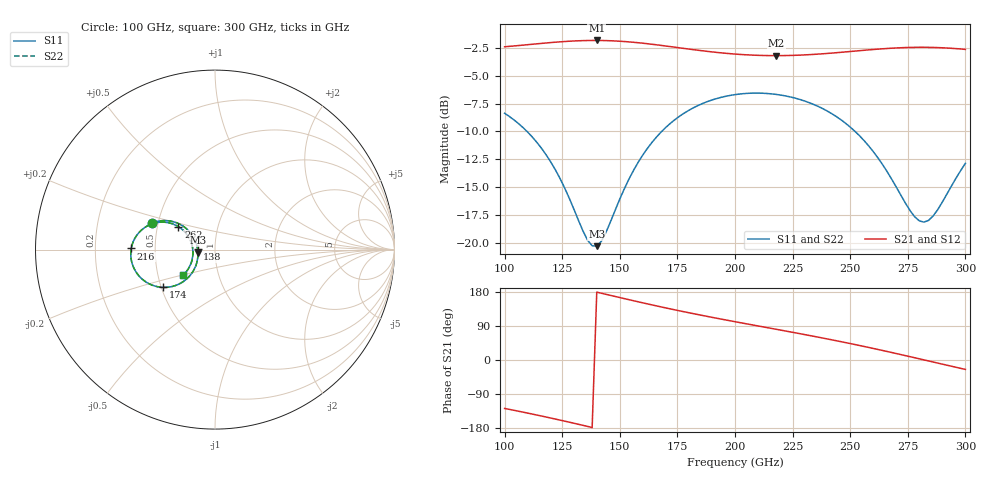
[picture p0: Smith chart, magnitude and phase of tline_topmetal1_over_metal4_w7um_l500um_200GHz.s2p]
#  GHZ S DB R 50
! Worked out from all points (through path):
!   101 points, 100 GHz to 300 GHz, reference 50 ohm
!   highest |S21| = -1.81 dB at 140 GHz (marker M1); lowest = -3.2 dB at 218 GHz (marker M2)
!   group delay of S21, straight-line fit = 3.5 ps
!   lowest |S11| = -20.3 dB at 140 GHz (marker M3), VSWR 1.21, Z = 41.3 - j1.35 ohm
!   |S11| at or under -10 dB: 109.7 GHz to 168.2 GHz (58.45 GHz wide, 42.1 % of centre); 252.1 GHz to end of sweep
!   |S22| runs from -20.3 to -6.6 dB; largest |S21 - S12| = 8.8e-14
!   S11 on the Smith chart (normalised r, x): 100 GHz: 0.46, +0.16; 138 GHz: 0.82, +0.00; 174 GHz: 0.51, -0.25; 216 GHz: 0.36, +0.01; 262 GHz: 0.64, +0.17; 300 GHz: 0.67, -0.20
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100  -8.36 157.3  -2.38 -127.9  -2.38 -127.9  -8.36 157.2
118  -12.09 144.5  -2.04 -150.5  -2.04 -150.5  -12.09 144.4
126  -15.05 144.7  -1.91 -161.3  -1.91 -161.3  -15.06 144.6
134  -18.95 159.7  -1.83 -172.4  -1.83 -172.4  -18.97 159.6
138  -20.28 178.4  -1.81 -178.1  -1.81 -178.1  -20.31 178.4
140  -20.32 -170.3  -1.81 179.0  -1.81 179.0  -20.34 -170.4
144  -19.08 -151.1  -1.83 173.3  -1.83 173.3  -19.10 -151.0
156  -13.48 -133.8  -1.98 156.3  -1.98 156.3  -13.49 -133.8
168  -10.04 -139.3  -2.26 140.0  -2.26 140.0  -10.04 -139.2
174  -8.92 -144.0  -2.42 132.2  -2.42 132.2  -8.93 -144.0
186  -7.48 -154.4  -2.75 117.4  -2.75 117.4  -7.48 -154.4
200  -6.69 -166.9  -3.04 101.1  -3.04 101.1  -6.69 -166.9
216  -6.62 179.2  -3.18 83.2  -3.18 83.2  -6.62 179.2
218  -6.67 177.5  -3.18 80.9  -3.18 80.9  -6.67 177.5
234  -7.56 164.2  -3.07 62.7  -3.07 62.7  -7.56 164.1
250  -9.60 152.5  -2.81 43.4  -2.81 43.4  -9.61 152.4
262  -12.36 148.0  -2.60 27.9  -2.60 27.9  -12.38 147.8
268  -14.29 149.9  -2.51 19.8  -2.51 19.8  -14.31 149.7
278  -17.68 169.2  -2.43 5.9  -2.43 5.9  -17.74 169.0
282  -18.15 -176.1  -2.43 0.3  -2.43 0.3  -18.22 -176.1
288  -17.03 -155.6  -2.46 -8.1  -2.46 -8.1  -17.08 -155.4
300  -12.87 -141.5  -2.62 -24.8  -2.62 -24.8  -12.88 -141.3
